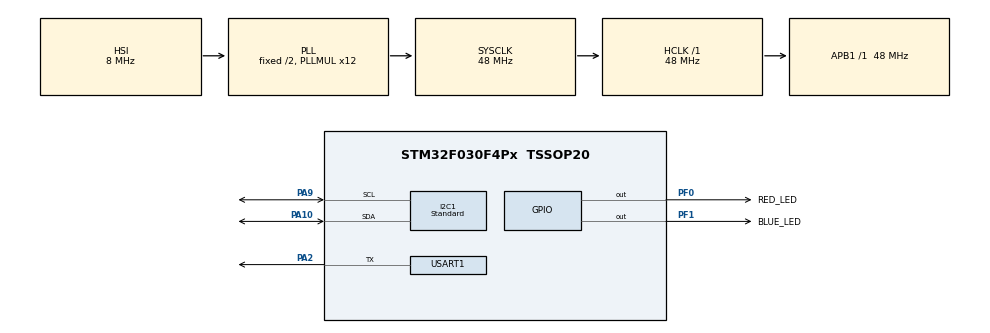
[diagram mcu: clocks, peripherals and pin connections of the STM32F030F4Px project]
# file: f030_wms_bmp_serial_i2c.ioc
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I2C1.I2C_Fall_Time=20
I2C1.I2C_Rise_Time=640
I2C1.I2C_Speed_Mode=I2C_Standard
I2C1.OwnAddress=0x33
I2C1.Timing=0x30A02E3E
Mcu.Family=STM32F0
Mcu.Name=STM32F030F4Px
Mcu.Package=TSSOP20
NVIC.I2C1_IRQn=true\:0\:0\:false\:false\:true\:true\:true
NVIC.USART1_IRQn=true\:0\:0\:false\:false\:true\:true\:true
PA10.Mode=I2C
PA10.Signal=I2C1_SDA
PA13.Mode=Serial_Wire
PA13.Signal=SYS_SWDIO
PA14.Mode=Serial_Wire
PA14.Signal=SYS_SWCLK
PA2.Mode=Half_duplex(single_wire_mode)
PA2.Signal=USART1_TX
PA9.Mode=I2C
PA9.Signal=I2C1_SCL
PF0-OSC_IN.GPIO_Label=RED_LED
PF0-OSC_IN.Signal=GPIO_Output
PF1-OSC_OUT.GPIO_Label=BLUE_LED
PF1-OSC_OUT.PinState=GPIO_PIN_SET
PF1-OSC_OUT.Signal=GPIO_Output
ProjectManager.HeapSize=0x200
ProjectManager.StackSize=0x400
ProjectManager.TargetToolchain=Makefile
RCC.AHBFreq_Value=48000000
RCC.APB1Freq_Value=48000000
RCC.APB1TimFreq_Value=48000000
RCC.HCLKFreq_Value=48000000
RCC.I2c1ClockSelection=RCC_I2C1CLKSOURCE_SYSCLK
RCC.PLLMUL=RCC_PLL_MUL12
RCC.SYSCLKFreq_VALUE=48000000
RCC.SYSCLKSource=RCC_SYSCLKSOURCE_PLLCLK
USART1.BaudRate=115200
USART1.Mode=MODE_TX
USART1.OverSampling=UART_OVERSAMPLING_8
USART1.VirtualMode-Half_duplex(single_wire_mode)=VM_ASYNC
board=custom

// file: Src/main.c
/* USER CODE BEGIN Header */
/**
  ******************************************************************************
  * @file           : main.c
  * @brief          : Main program body
  ******************************************************************************
  * @attention
  *
  * <h2><center>&copy; Copyright (c) 2019 STMicroelectronics.
  * All rights reserved.</center></h2>
  *
  * This software component is licensed by ST under BSD 3-Clause license,
  * the "License"; You may not use this file except in compliance with the
  * License. You may obtain a copy of the License at:
  *                        opensource.org/licenses/BSD-3-Clause
  *
  ******************************************************************************
project for testing a lot of things:
1. Black magic probe:
1a. uploading code
1b. debuging
1c. serial communication
2. STM32 UART serial communication with interrupts (single direction, only output)
3. STM32 IC2 slave with interrupts and sequential streams
  */
/* USER CODE END Header */

#include "main.h"

/* USER CODE BEGIN PTD */
typedef enum {
  I2C_SLAVE_STOP        = 0x00U,
  I2C_SLAVE_WAIT        = 0x01U,
  I2C_SLAVE_WAIT4ADDR   = 0x02U,
  I2C_SLAVE_SENDSTAT    = 0x03U,
  I2C_SLAVE_WRITEREG    = 0x04U,
  I2C_SLAVE_READREG     = 0x05U,
  I2C_SLAVE_HAVEADDR    = 0x06U
} I2C_StatusTypeDef; // I2C communication protocol status
/* USER CODE END PTD */

I2C_HandleTypeDef hi2c1;

UART_HandleTypeDef huart1;

/* USER CODE BEGIN PV */
uint8_t aTxBuffer[10] = "  10 char ";//buffer for UART output
uint8_t aRxBuffer[10]; //buffer to receive data from I2C bus
uint8_t i2cTxBuffer[10] = "  10 char "; //buffer to send data to I2C bus
uint8_t hexBuf[16] = "0123456789ABCDEF"; //buffer used for integer to readable hexadecimal conversion
uartTypeDef uart1; // structure variable holding UART handle and fifo for buffering output data
uint8_t uart1TxBuff[128]; //buffer for UART output data
FIFO txFifo; // fifo structure for UART output data
__IO I2C_StatusTypeDef i2cState = I2C_SLAVE_STOP; //I2C protocal state
__IO uint8_t rv = 22U; // dummy register value
/* USER CODE END PV */

void SystemClock_Config(void);
static void MX_GPIO_Init(void);
static void MX_USART1_UART_Init(void);
static void MX_I2C1_Init(void);

/* USER CODE BEGIN 0 */
/*"Slave transfer completed" interupt calback*/
void HAL_I2C_SlaveTxCpltCallback(I2C_HandleTypeDef *hi2c){
  if(i2cState==I2C_SLAVE_READREG){//we are sending register values to the master
    uart_buffer("DR",2,&uart1);
    uart_buffer_byte(hexBuf[(rv&0xF0U)>>4],&uart1);
    uart_buffer_byte(hexBuf[rv&0x0FU],&uart1);
    i2cTxBuffer[0]=rv;
    if (HAL_I2C_Slave_Seq_Transmit_IT(hi2c, i2cTxBuffer, 1, I2C_FIRST_FRAME/*there will be no more restarts, but this is not the last frame*/) != HAL_OK) {
      uart_write("\nFATAL\n",7,&uart1);
      Error_Handler();
    }else{
      uart_write("\n",1,&uart1);
    }
    rv++;
  }else if(i2cState==I2C_SLAVE_SENDSTAT){
    uart_buffer("SR",2,&uart1);
    if (HAL_I2C_Slave_Seq_Transmit_IT(hi2c, i2cTxBuffer, 2, I2C_FIRST_FRAME/*there will be no more restarts, but this is not the last frame*/) != HAL_OK) {
      uart_write("\nFATAL\n",7,&uart1);
      Error_Handler();
    }else{
      uart_write("\n",1,&uart1);
    }
  }else{
    uart_buffer("TxUS",4,&uart1);
    uart_buffer_byte(hexBuf[(i2cState&0xF0U)>>4],&uart1);
    uart_buffer_byte(hexBuf[i2cState&0x0FU],&uart1);
    uart_write("\n",1,&uart1);
  }
}
/*"Slave receive completed" interupt calback*/
void HAL_I2C_SlaveRxCpltCallback(I2C_HandleTypeDef *hi2c){
  if(i2cState==I2C_SLAVE_WAIT4ADDR){//first byte after address match, we got register number in aRxBuffer[0]
    uart_buffer("R",1,&uart1);
    uart_buffer_byte(hexBuf[(aRxBuffer[0]&0xF0U)>>4],&uart1);
    uart_buffer_byte(hexBuf[aRxBuffer[0]&0x0FU],&uart1);
    i2cState=I2C_SLAVE_HAVEADDR;//we have address, master will restart with read op or will send next byte for write op
    uart_write("\n",1,&uart1);
    if (HAL_I2C_Slave_Seq_Receive_IT(hi2c, aRxBuffer+1, 1, I2C_FIRST_AND_NEXT_FRAME/*not finish automaticaly after frame and allow restart*/) != HAL_OK) {//lets wait for next byte if it will be write op
      uart_write("\nFATAL\n",7,&uart1);
      Error_Handler();
    }
  }else if(i2cState==I2C_SLAVE_HAVEADDR||i2cState==I2C_SLAVE_WRITEREG){//we already have register number and now we got first or next data byte
    uart_buffer("DW",1,&uart1);
    uart_buffer_byte(hexBuf[(aRxBuffer[1]&0xF0U)>>4],&uart1);
    uart_buffer_byte(hexBuf[aRxBuffer[1]&0x0FU],&uart1);
    i2cState=I2C_SLAVE_WRITEREG;
    uart_write("\n",1,&uart1);
    if (HAL_I2C_Slave_Seq_Receive_IT(hi2c, aRxBuffer+1, 1, I2C_FIRST_FRAME/*not finish automaticaly after frame*/) != HAL_OK) {//lets try to get one more byte
      uart_write("\nFATAL\n",7,&uart1);
			Error_Handler();
    }
  }else{
    uart_buffer("RxUS",4,&uart1);
    uart_buffer_byte(hexBuf[(i2cState&0xF0U)>>4],&uart1);
    uart_buffer_byte(hexBuf[i2cState&0x0FU],&uart1);
    uart_write("\n",1,&uart1);
  }
}
/*"Slave address match and send/receive completed" interupt calback*/
void HAL_I2C_ListenCpltCallback(I2C_HandleTypeDef *hi2c){
  uart_buffer("EL",2,&uart1);
  uart_buffer_byte(hexBuf[(i2cState&0xF0U)>>4],&uart1);
  uart_buffer_byte(hexBuf[i2cState&0x0FU],&uart1);
  uart_write("\n",1,&uart1);
  if(HAL_I2C_EnableListen_IT(hi2c) != HAL_OK){// Restart listening
    uart_write("\nFATAL\n",7,&uart1);
    Error_Handler();
  }else{
    i2cState=I2C_SLAVE_WAIT;
  }
}
/*"I2C error" interupt calback*/
void HAL_I2C_ErrorCallback(I2C_HandleTypeDef *hi2c){
  if(i2cState==I2C_SLAVE_WAIT4ADDR && hi2c->ErrorCode==HAL_I2C_ERROR_AF){//we were in receive mode waiting for register and got NACK - master ended communication - typical situation for I2C bus scan
    uart_write("busScan\n",8,&uart1);
  }else if((i2cState==I2C_SLAVE_READREG||//we were sending bytes from register
            i2cState==I2C_SLAVE_WRITEREG||//we were geting bytes to register
            i2cState==I2C_SLAVE_SENDSTAT) //we were sending status bytes
            &&
            hi2c->ErrorCode==HAL_I2C_ERROR_AF){//got NACK - master ended communication. Two bytes that we sent should be lost in the bus
    uart_write("MasterNACK\n",11,&uart1);
  }else{ // other error
    uart_buffer_byte('E',&uart1);
    uart_buffer_byte((hi2c->ErrorCode&HAL_I2C_ERROR_BERR)?'B':'_',&uart1);//HAL_I2C_ERROR_BERR (0x0001U) - BERR: Bus error - START/STOP condition in wrong i2c protocol place
    uart_buffer_byte((hi2c->ErrorCode&HAL_I2C_ERROR_ARLO)?'A':'_',&uart1);//HAL_I2C_ERROR_ARLO (0x0002U) - ARLO: arbitration lost - slave got unexpected level from i2c bus
    uart_buffer_byte((hi2c->ErrorCode&HAL_I2C_ERROR_AF)?'N':'_',&uart1);//HAL_I2C_ERROR_AF   (0x0004U) - NACKF: masted did not acknowledge written data byte
    uart_buffer_byte((hi2c->ErrorCode&HAL_I2C_ERROR_OVR)?'O':'_',&uart1);//HAL_I2C_ERROR_OVR  (0x0008U) - OVR: Overrun/underrun, slave is too slow
    uart_buffer_byte((hi2c->ErrorCode&HAL_I2C_ERROR_SIZE)?'S':'_',&uart1);//HAL_I2C_ERROR_SIZE (0x0040U) - Size Management error
    uart_buffer_byte('/',&uart1);
    uart_buffer_byte(hexBuf[(i2cState&0xF0U)>>4],&uart1);
    uart_buffer_byte(hexBuf[i2cState&0x0FU],&uart1);
    uart_write("\n",1,&uart1);
  }
}
/*"I2C address match" interupt calback*/
void HAL_I2C_AddrCallback(I2C_HandleTypeDef *hi2c, uint8_t TransferDirection, uint16_t AddrMatchCode){
  UNUSED(AddrMatchCode);//we have only one address so do not check it
  uart_buffer_byte('A',&uart1);
  if(i2cState==I2C_SLAVE_WAIT){//first transaction step
    if(TransferDirection==I2C_DIRECTION_TRANSMIT/*from Master point of view*/){//master wants to write address of register
      uart_buffer("WR",2,&uart1);
      i2cState=I2C_SLAVE_WAIT4ADDR;
      if (HAL_I2C_Slave_Seq_Receive_IT(hi2c, aRxBuffer, 1, I2C_NEXT_FRAME/*allow restart after received byte*/) != HAL_OK) {//read the registernumber  byte
        uart_write("\nFATAL\n",7,&uart1);
			  Error_Handler();
      }else{
        uart_write("\n",1,&uart1);
      }
    }else{//master wants to read from the beggining - report status
      uart_buffer("RS",2,&uart1);
      i2cState=I2C_SLAVE_SENDSTAT;/*master reads status - we allways try to give all of what we have at the moment*/
      if (HAL_I2C_Slave_Seq_Transmit_IT(hi2c, i2cTxBuffer, 2, I2C_FIRST_FRAME/*there will be no restarts*/) != HAL_OK) {// send status bytes
			  uart_write("\nFATAL\n",7,&uart1);
        Error_Handler();
      }else{
        uart_write("\n",1,&uart1);
      }
    }
  }else{//not the first match in one transaction, so we got our address after restart - we should already have register address
    if(i2cState==I2C_SLAVE_HAVEADDR){
      if(TransferDirection==I2C_DIRECTION_TRANSMIT/*from Master point of view*/){//very strange, direction before restart was incoming, and after restart also incoming
        uart_buffer("RW",2,&uart1);
        i2cState=I2C_SLAVE_WRITEREG;
        if (HAL_I2C_Slave_Seq_Receive_IT(hi2c, aRxBuffer+1, 1, I2C_FIRST_FRAME/*allow more incoming bytes after this one*/) != HAL_OK) {//lets try to get byte from master
			    uart_write("\nFATAL\n",7,&uart1);
          Error_Handler();
        }else{
          uart_write("\n",1,&uart1);
        }
      }else{//direction change after restart, we sending register data to the master
        uart_buffer("DR",2,&uart1);
        uart_buffer_byte(hexBuf[(rv&0xF0U)>>4],&uart1);
        uart_buffer_byte(hexBuf[rv&0x0FU],&uart1);
        i2cState=I2C_SLAVE_READREG;
        i2cTxBuffer[0]=rv;
        if (HAL_I2C_Slave_Seq_Transmit_IT(hi2c, i2cTxBuffer, 1, I2C_FIRST_FRAME/*no more restarts, but we can send  more bytes after this one*/) != HAL_OK) {
          uart_write("\nFATAL\n",7,&uart1);
          Error_Handler();
        }else{
          uart_write("\n",1,&uart1);
        }
        rv++;
      }
    }else{//unknown situation
      uart_buffer("ARUS",4,&uart1);
      uart_buffer_byte(hexBuf[(i2cState&0xF0U)>>4],&uart1);
      uart_buffer_byte(hexBuf[i2cState&0x0FU],&uart1);
      uart_write("\n",1,&uart1);
    }
  }
}
/* USER CODE END 0 */

int main(void)
{

  /* MCU Configuration--------------------------------------------------------*/

  /* Reset of all peripherals, Initializes the Flash interface and the Systick. */
  HAL_Init();

  /* Configure the system clock */
  SystemClock_Config();

  /* Initialize all configured peripherals */
  MX_GPIO_Init();
  MX_USART1_UART_Init();
  MX_I2C1_Init();
  /* USER CODE BEGIN 2 */
  //add ring buffer to the UART
  uart1.huart = &huart1;
  uart1.tx = &txFifo;
	fifo_init(uart1.tx,128,uart1TxBuff);

  uart_write("\nProject f030_wms_bmp_serial_i2c is ongoing\n", 44,&uart1);
  // listen for address match on I2C bus
  if(HAL_I2C_EnableListen_IT(&hi2c1) != HAL_OK){
    Error_Handler();
  }
  i2cState=I2C_SLAVE_WAIT;

  /* USER CODE END 2 */

  /* Infinite loop */
  while (1)
  {

    /* USER CODE BEGIN 3 */
    HAL_Delay(333);
    HAL_GPIO_TogglePin(BLUE_LED_GPIO_Port, BLUE_LED_Pin);
  }
  /* USER CODE END 3 */
}

void SystemClock_Config(void)
{
  RCC_OscInitTypeDef RCC_OscInitStruct = {0};
  RCC_ClkInitTypeDef RCC_ClkInitStruct = {0};
  RCC_PeriphCLKInitTypeDef PeriphClkInit = {0};

  /** Initializes the CPU, AHB and APB busses clocks
  */
  RCC_OscInitStruct.OscillatorType = RCC_OSCILLATORTYPE_HSI;
  RCC_OscInitStruct.HSIState = RCC_HSI_ON;
  RCC_OscInitStruct.HSICalibrationValue = RCC_HSICALIBRATION_DEFAULT;
  RCC_OscInitStruct.PLL.PLLState = RCC_PLL_ON;
  RCC_OscInitStruct.PLL.PLLSource = RCC_PLLSOURCE_HSI;
  RCC_OscInitStruct.PLL.PLLMUL = RCC_PLL_MUL12;
  RCC_OscInitStruct.PLL.PREDIV = RCC_PREDIV_DIV1;
  if (HAL_RCC_OscConfig(&RCC_OscInitStruct) != HAL_OK)
  {
    Error_Handler();
  }
  /** Initializes the CPU, AHB and APB busses clocks
  */
  RCC_ClkInitStruct.ClockType = RCC_CLOCKTYPE_HCLK|RCC_CLOCKTYPE_SYSCLK
                              |RCC_CLOCKTYPE_PCLK1;
  RCC_ClkInitStruct.SYSCLKSource = RCC_SYSCLKSOURCE_PLLCLK;
  RCC_ClkInitStruct.AHBCLKDivider = RCC_SYSCLK_DIV1;
  RCC_ClkInitStruct.APB1CLKDivider = RCC_HCLK_DIV1;

  if (HAL_RCC_ClockConfig(&RCC_ClkInitStruct, FLASH_LATENCY_1) != HAL_OK)
  {
    Error_Handler();
  }
  PeriphClkInit.PeriphClockSelection = RCC_PERIPHCLK_USART1|RCC_PERIPHCLK_I2C1;
  PeriphClkInit.Usart1ClockSelection = RCC_USART1CLKSOURCE_PCLK1;
  PeriphClkInit.I2c1ClockSelection = RCC_I2C1CLKSOURCE_SYSCLK;
  if (HAL_RCCEx_PeriphCLKConfig(&PeriphClkInit) != HAL_OK)
  {
    Error_Handler();
  }
}

static void MX_I2C1_Init(void)
{

  hi2c1.Instance = I2C1;
  hi2c1.Init.Timing = 0x30A02E3E;
  hi2c1.Init.OwnAddress1 = 102;
  hi2c1.Init.AddressingMode = I2C_ADDRESSINGMODE_7BIT;
  hi2c1.Init.DualAddressMode = I2C_DUALADDRESS_DISABLE;
  hi2c1.Init.OwnAddress2 = 0;
  hi2c1.Init.OwnAddress2Masks = I2C_OA2_NOMASK;
  hi2c1.Init.GeneralCallMode = I2C_GENERALCALL_DISABLE;
  hi2c1.Init.NoStretchMode = I2C_NOSTRETCH_DISABLE;
  if (HAL_I2C_Init(&hi2c1) != HAL_OK)
  {
    Error_Handler();
  }
  /** Configure Analogue filter
  */
  if (HAL_I2CEx_ConfigAnalogFilter(&hi2c1, I2C_ANALOGFILTER_ENABLE) != HAL_OK)
  {
    Error_Handler();
  }
  /** Configure Digital filter
  */
  if (HAL_I2CEx_ConfigDigitalFilter(&hi2c1, 0) != HAL_OK)
  {
    Error_Handler();
  }

}

static void MX_USART1_UART_Init(void)
{

  huart1.Instance = USART1;
  huart1.Init.BaudRate = 115200;
  huart1.Init.WordLength = UART_WORDLENGTH_8B;
  huart1.Init.StopBits = UART_STOPBITS_1;
  huart1.Init.Parity = UART_PARITY_NONE;
  huart1.Init.Mode = UART_MODE_TX;
  huart1.Init.HwFlowCtl = UART_HWCONTROL_NONE;
  huart1.Init.OverSampling = UART_OVERSAMPLING_8;
  huart1.Init.OneBitSampling = UART_ONE_BIT_SAMPLE_DISABLE;
  huart1.AdvancedInit.AdvFeatureInit = UART_ADVFEATURE_NO_INIT;
  if (HAL_HalfDuplex_Init(&huart1) != HAL_OK)
  {
    Error_Handler();
  }

}

static void MX_GPIO_Init(void)
{
  GPIO_InitTypeDef GPIO_InitStruct = {0};

  /* GPIO Ports Clock Enable */
  __HAL_RCC_GPIOF_CLK_ENABLE();
  __HAL_RCC_GPIOA_CLK_ENABLE();

  /*Configure GPIO pin Output Level */
  HAL_GPIO_WritePin(RED_LED_GPIO_Port, RED_LED_Pin, GPIO_PIN_RESET);

  /*Configure GPIO pin Output Level */
  HAL_GPIO_WritePin(BLUE_LED_GPIO_Port, BLUE_LED_Pin, GPIO_PIN_SET);

  /*Configure GPIO pins : RED_LED_Pin BLUE_LED_Pin */
  GPIO_InitStruct.Pin = RED_LED_Pin|BLUE_LED_Pin;
  GPIO_InitStruct.Mode = GPIO_MODE_OUTPUT_PP;
  GPIO_InitStruct.Pull = GPIO_NOPULL;
  GPIO_InitStruct.Speed = GPIO_SPEED_FREQ_LOW;
  HAL_GPIO_Init(GPIOF, &GPIO_InitStruct);

}

void Error_Handler(void)
{
  /* USER CODE BEGIN Error_Handler_Debug */
  //indicate error by turing red led on
  HAL_GPIO_WritePin(RED_LED_GPIO_Port, RED_LED_Pin, GPIO_PIN_SET);
  /* USER CODE END Error_Handler_Debug */
}

/************************ (C) COPYRIGHT STMicroelectronics *****END OF FILE****/
